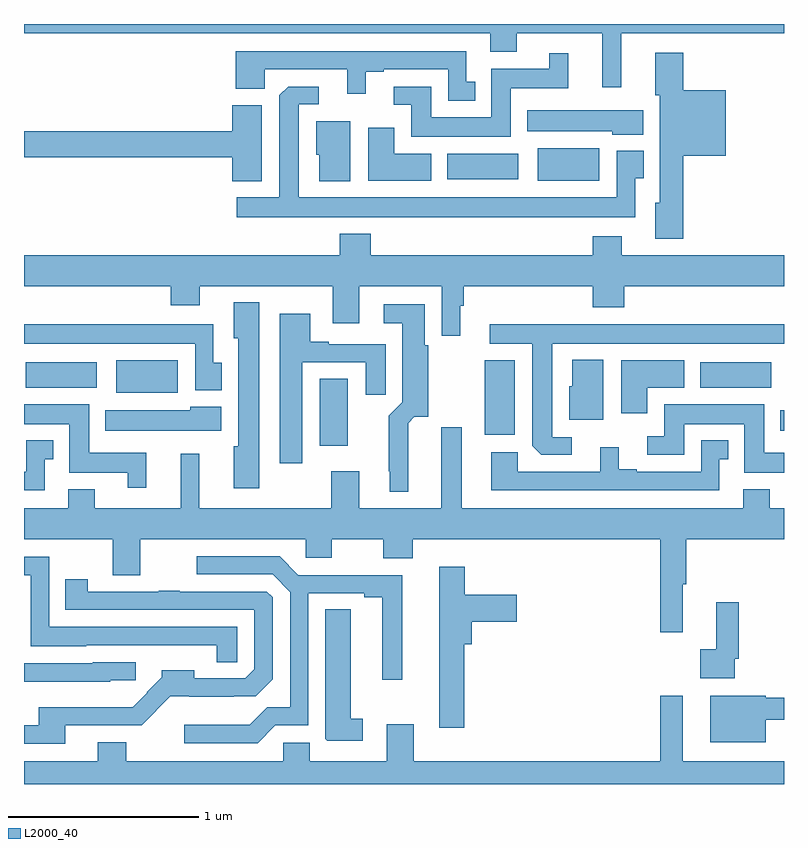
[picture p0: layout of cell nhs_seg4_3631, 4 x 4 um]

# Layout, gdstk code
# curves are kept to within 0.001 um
import gdstk
lib = gdstk.Library(unit=1e-6, precision=1e-09)
def R(c, l, rs):  # rectangles x0, y0, x1, y1
    for r in rs: c.add(gdstk.rectangle(r[:2], r[2:], *l))
def P(c, l, *ps):  # polygons
    for p in ps: c.add(gdstk.Polygon(p, *l))
L2000_40 = (2000, 40)

nhs_seg4_3631 = lib.new_cell('nhs_seg4_3631')
R(nhs_seg4_3631, L2000_40, [(304.556,762.681,304.705,763.034), (305.426,762.737,305.584,763.129), (306.98,762.758,307,762.868), (303.485,762.959,303.808,763.129), (303.008,762.986,303.382,763.12), (306.56,762.986,306.934,763.12), (305.705,764.075,306.028,764.245), (305.228,764.084,305.602,764.218)])
P(nhs_seg4_3631, L2000_40, [(306.143,764.852),(307,764.852),(307,764.9),(303,764.9),(303,764.852),(305.453,764.852),(305.453,764.753),(305.593,764.753),(305.593,764.852),(306.044,764.852),(306.044,764.568),(306.143,764.568)],
  [(305.374,764.595),(305.328,764.595),(305.328,764.757),(304.115,764.757),(304.115,764.558),(304.266,764.558),(304.266,764.661),(304.7,764.661),(304.7,764.532),(304.798,764.532),(304.798,764.649),(304.894,764.649),(304.894,764.661),(305.232,764.661),(305.232,764.495),(305.374,764.495)],
  [(306.47,764.207),(306.694,764.207),(306.694,764.551),(306.47,764.551),(306.47,764.749),(306.323,764.749),(306.323,764.526),(306.347,764.526),(306.347,763.959),(306.323,763.959),(306.323,763.769),(306.47,763.769)],
  [(305.563,764.561),(305.864,764.561),(305.864,764.746),(305.765,764.746),(305.765,764.665),(305.459,764.665),(305.459,764.41),(305.143,764.41),(305.143,764.571),(304.947,764.571),(304.947,764.475),(305.039,764.475),(305.039,764.306),(305.563,764.306)],
  [(306.217,764.089),(306.262,764.089),(306.262,764.233),(306.12,764.233),(306.12,763.987),(304.447,763.987),(304.447,764.478),(304.552,764.478),(304.552,764.571),(304.39,764.571),(304.344,764.525),(304.343,763.987),(304.119,763.987),(304.119,763.883),(306.217,763.883)],
  [(304.252,764.473),(304.097,764.473),(304.097,764.336),(303,764.336),(303,764.2),(304.097,764.2),(304.097,764.072),(304.252,764.072)],
  [(306.259,764.446),(305.648,764.446),(305.648,764.336),(306.096,764.336),(306.096,764.318),(306.259,764.318)],
  [(304.717,764.389),(304.538,764.389),(304.538,764.211),(304.553,764.211),(304.553,764.072),(304.717,764.072)],
  [(305.143,764.218),(304.948,764.218),(304.948,764.353),(304.811,764.353),(304.811,764.075),(305.143,764.075)],
  [(305.296,763.417),(305.315,763.417),(305.315,763.52),(305.993,763.52),(305.993,763.409),(306.158,763.409),(306.158,763.52),(307,763.52),(307,763.684),(306.145,763.684),(306.145,763.783),(305.993,763.783),(305.993,763.684),(304.826,763.684),(304.826,763.795),(304.661,763.795),(304.661,763.684),(303,763.684),(303,763.52),(303.773,763.52),(303.773,763.421),(303.925,763.421),(303.925,763.52),(304.625,763.52),(304.625,763.326),(304.765,763.326),(304.765,763.52),(305.199,763.52),(305.199,763.26),(305.296,763.26)],
  [(304.237,763.435),(304.103,763.435),(304.103,763.245),(304.127,763.245),(304.127,762.678),(304.103,762.678),(304.103,762.456),(304.237,762.456)],
  [(305.023,762.8),(305.055,762.833),(305.128,762.833),(305.128,763.209),(305.11,763.209),(305.11,763.426),(304.893,763.426),(304.893,763.325),(304.991,763.325),(304.991,762.908),(304.921,762.838),(304.921,762.547),(304.925,762.547),(304.925,762.437),(305.023,762.437)],
  [(304.465,763.119),(304.799,763.119),(304.799,762.948),(304.903,762.948),(304.903,763.215),(304.603,763.215),(304.603,763.228),(304.507,763.228),(304.507,763.375),(304.346,763.375),(304.346,762.588),(304.465,762.588)],
  [(304.042,763.116),(303.997,763.116),(303.997,763.321),(303,763.321),(303,763.217),(303.9,763.217),(303.9,762.972),(304.042,762.972)],
  [(305.884,762.726),(305.779,762.726),(305.779,763.217),(307,763.217),(307,763.321),(305.451,763.321),(305.451,763.217),(305.675,763.217),(305.676,762.679),(305.722,762.633),(305.884,762.633)],
  [(306.049,763.132),(305.885,763.132),(305.885,762.993),(305.87,762.993),(305.87,762.816),(306.049,762.816)],
  [(306.28,762.986),(306.475,762.986),(306.475,763.129),(306.143,763.129),(306.143,762.852),(306.28,762.852)],
  [(303.644,762.643),(303.343,762.643),(303.343,762.898),(303,762.898),(303,762.794),(303.239,762.794),(303.239,762.539),(303.545,762.539),(303.545,762.459),(303.644,762.459)],
  [(307,762.643),(306.895,762.643),(306.895,762.898),(306.371,762.898),(306.371,762.729),(306.279,762.729),(306.279,762.633),(306.475,762.633),(306.475,762.794),(306.791,762.794),(306.791,762.539),(307,762.539)],
  [(304.039,762.886),(303.876,762.886),(303.876,762.868),(303.428,762.868),(303.428,762.758),(304.039,762.758)],
  [(306.467,761.952),(306.485,761.952),(306.485,762.188),(307,762.188),(307,762.352),(306.925,762.352),(306.925,762.451),(306.785,762.451),(306.785,762.352),(305.305,762.352),(305.305,762.778),(305.195,762.778),(305.195,762.352),(304.765,762.352),(304.765,762.547),(304.618,762.547),(304.618,762.352),(303.923,762.352),(303.923,762.637),(303.824,762.637),(303.824,762.352),(303.373,762.352),(303.373,762.451),(303.233,762.451),(303.233,762.352),(303,762.352),(303,762.188),(303.466,762.188),(303.466,761.998),(303.613,761.998),(303.613,762.188),(304.482,762.188),(304.482,762.09),(304.621,762.09),(304.621,762.188),(304.892,762.188),(304.892,762.089),(305.045,762.089),(305.045,762.188),(306.349,762.188),(306.349,761.7),(306.467,761.7)],
  [(303.108,762.609),(303.154,762.609),(303.154,762.709),(303.012,762.709),(303.012,762.543),(303,762.543),(303,762.447),(303.108,762.447)],
  [(306.66,762.609),(306.706,762.609),(306.706,762.709),(306.564,762.709),(306.564,762.543),(306.226,762.543),(306.226,762.556),(306.13,762.556),(306.13,762.673),(306.032,762.673),(306.032,762.543),(305.598,762.543),(305.598,762.646),(305.459,762.646),(305.459,762.447),(306.66,762.447)],
  [(304.323,761.208),(304.497,761.208),(304.497,761.904),(304.79,761.904),(304.79,761.884),(304.886,761.884),(304.886,761.448),(304.99,761.448),(304.99,762),(304.444,762),(304.345,762.099),(303.909,762.099),(303.909,762.003),(304.308,762.003),(304.401,761.91),(304.401,761.303),(304.28,761.303),(304.189,761.212),(303.843,761.212),(303.843,761.115),(304.23,761.115)],
  [(304.122,761.727),(303.132,761.727),(303.132,762.096),(303,762.096),(303,762),(303.036,762),(303.036,761.624),(303.327,761.624),(303.327,761.631),(303.759,761.631),(303.759,761.63),(304.014,761.63),(304.014,761.542),(304.122,761.542)],
  [(305.318,761.636),(305.357,761.636),(305.357,761.753),(305.593,761.753),(305.593,761.895),(305.321,761.895),(305.321,762.043),(305.186,762.043),(305.186,761.196),(305.318,761.196)],
  [(303.217,761.208),(303.621,761.208),(303.697,761.285),(303.695,761.287),(303.769,761.361),(304.103,761.36),(304.103,761.362),(304.219,761.362),(304.308,761.451),(304.308,761.883),(304.278,761.913),(303.821,761.913),(303.821,761.918),(303.709,761.918),(303.709,761.913),(303.336,761.913),(303.336,761.977),(303.217,761.977),(303.217,761.817),(304.212,761.817),(304.212,761.505),(304.164,761.457),(303.895,761.457),(303.895,761.5),(303.724,761.5),(303.724,761.461),(303.645,761.382),(303.648,761.379),(303.572,761.303),(303.47,761.303),(303.47,761.305),(303.077,761.305),(303.077,761.208),(303,761.208),(303,761.112),(303.217,761.112)],
  [(306.741,761.56),(306.761,761.56),(306.761,761.857),(306.644,761.857),(306.644,761.609),(306.558,761.609),(306.558,761.456),(306.741,761.456)],
  [(304.783,761.243),(304.72,761.243),(304.72,761.819),(304.586,761.819),(304.586,761.137),(304.596,761.127),(304.783,761.127)],
  [(303.453,761.445),(303.588,761.445),(303.588,761.541),(303.363,761.541),(303.363,761.535),(303,761.535),(303,761.438),(303.453,761.438)],
  [(303.537,761.119),(303.389,761.119),(303.389,761.02),(303,761.02),(303,760.9),(307,760.9),(307,761.02),(306.466,761.02),(306.466,761.365),(306.349,761.365),(306.349,761.02),(305.05,761.02),(305.05,761.215),(304.91,761.215),(304.91,761.02),(304.504,761.02),(304.504,761.118),(304.365,761.118),(304.365,761.02),(303.537,761.02)],
  [(306.904,761.237),(307,761.237),(307,761.354),(306.904,761.354),(306.904,761.365),(306.611,761.365),(306.611,761.12),(306.904,761.12)])

lib.write_gds('nhs_seg4_3631.gds')
